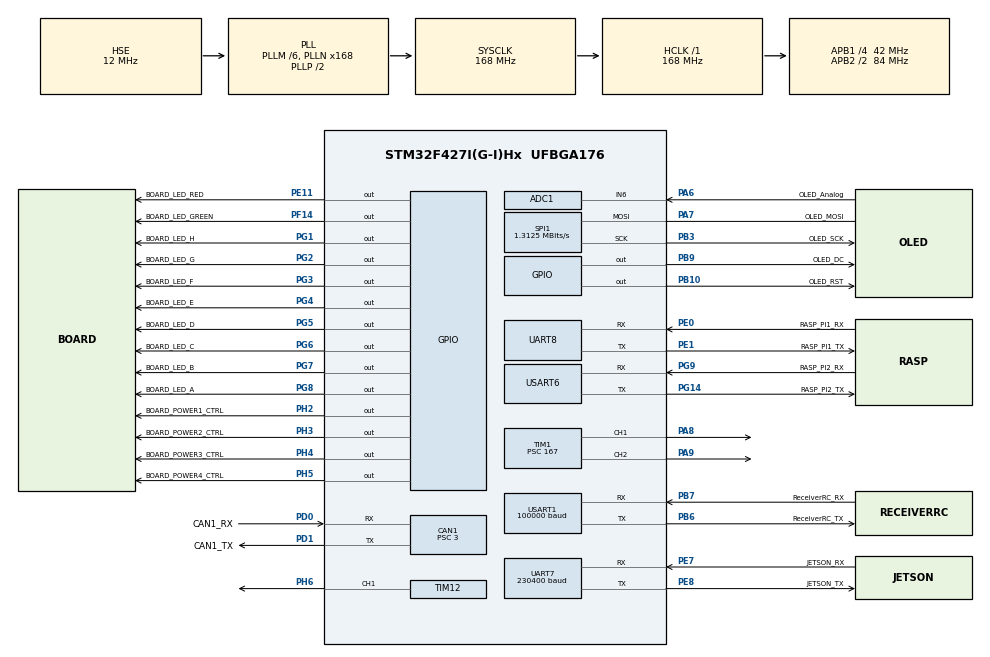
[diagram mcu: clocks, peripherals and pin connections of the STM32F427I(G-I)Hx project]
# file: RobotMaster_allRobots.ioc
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ADC1.Channel-0\#ChannelRegularConversion=ADC_CHANNEL_6
ADC1.NbrOfConversionFlag=1
ADC1.Rank-0\#ChannelRegularConversion=1
ADC1.SamplingTime-0\#ChannelRegularConversion=ADC_SAMPLETIME_3CYCLES
ADC1.master=1
CAN1.ABOM=ENABLE
CAN1.BS1=CAN_BS1_10TQ
CAN1.BS2=CAN_BS2_4TQ
CAN1.CalculateBaudRate=933333
CAN1.CalculateTimeBit=1071.42
CAN1.CalculateTimeQuantum=71.42857142857143
CAN1.Prescaler=3
Dma.Request0=USART1_RX
Dma.Request1=USART1_TX
Dma.Request2=USART6_RX
Dma.Request3=USART6_TX
Dma.Request4=UART8_TX
Dma.Request5=UART7_RX
Dma.Request6=UART7_TX
Dma.Request7=UART8_RX
Dma.UART7_RX.5.Direction=DMA_PERIPH_TO_MEMORY
Dma.UART7_RX.5.FIFOMode=DMA_FIFOMODE_DISABLE
Dma.UART7_RX.5.Instance=DMA1_Stream3
Dma.UART7_RX.5.MemDataAlignment=DMA_MDATAALIGN_BYTE
Dma.UART7_RX.5.MemInc=DMA_MINC_ENABLE
Dma.UART7_RX.5.Mode=DMA_CIRCULAR
Dma.UART7_RX.5.PeriphDataAlignment=DMA_PDATAALIGN_BYTE
Dma.UART7_RX.5.PeriphInc=DMA_PINC_DISABLE
Dma.UART7_RX.5.Priority=DMA_PRIORITY_LOW
Dma.UART7_TX.6.Direction=DMA_MEMORY_TO_PERIPH
Dma.UART7_TX.6.FIFOMode=DMA_FIFOMODE_DISABLE
Dma.UART7_TX.6.Instance=DMA1_Stream1
Dma.UART7_TX.6.MemDataAlignment=DMA_MDATAALIGN_BYTE
Dma.UART7_TX.6.MemInc=DMA_MINC_ENABLE
Dma.UART7_TX.6.Mode=DMA_NORMAL
Dma.UART7_TX.6.PeriphDataAlignment=DMA_PDATAALIGN_BYTE
Dma.UART7_TX.6.PeriphInc=DMA_PINC_DISABLE
Dma.UART7_TX.6.Priority=DMA_PRIORITY_LOW
Dma.UART8_RX.7.Direction=DMA_PERIPH_TO_MEMORY
Dma.UART8_RX.7.FIFOMode=DMA_FIFOMODE_DISABLE
Dma.UART8_RX.7.Instance=DMA1_Stream6
Dma.UART8_RX.7.MemDataAlignment=DMA_MDATAALIGN_BYTE
Dma.UART8_RX.7.MemInc=DMA_MINC_ENABLE
Dma.UART8_RX.7.Mode=DMA_CIRCULAR
Dma.UART8_RX.7.PeriphDataAlignment=DMA_PDATAALIGN_BYTE
Dma.UART8_RX.7.PeriphInc=DMA_PINC_DISABLE
Dma.UART8_RX.7.Priority=DMA_PRIORITY_LOW
Dma.UART8_TX.4.Direction=DMA_MEMORY_TO_PERIPH
Dma.UART8_TX.4.FIFOMode=DMA_FIFOMODE_DISABLE
Dma.UART8_TX.4.Instance=DMA1_Stream0
Dma.UART8_TX.4.MemDataAlignment=DMA_MDATAALIGN_BYTE
Dma.UART8_TX.4.MemInc=DMA_MINC_ENABLE
Dma.UART8_TX.4.Mode=DMA_NORMAL
Dma.UART8_TX.4.PeriphDataAlignment=DMA_PDATAALIGN_BYTE
Dma.UART8_TX.4.PeriphInc=DMA_PINC_DISABLE
Dma.UART8_TX.4.Priority=DMA_PRIORITY_LOW
Dma.USART1_RX.0.Direction=DMA_PERIPH_TO_MEMORY
Dma.USART1_RX.0.FIFOMode=DMA_FIFOMODE_DISABLE
Dma.USART1_RX.0.Instance=DMA2_Stream2
Dma.USART1_RX.0.MemDataAlignment=DMA_MDATAALIGN_BYTE
Dma.USART1_RX.0.MemInc=DMA_MINC_ENABLE
Dma.USART1_RX.0.Mode=DMA_CIRCULAR
Dma.USART1_RX.0.PeriphDataAlignment=DMA_PDATAALIGN_BYTE
Dma.USART1_RX.0.PeriphInc=DMA_PINC_DISABLE
Dma.USART1_RX.0.Priority=DMA_PRIORITY_LOW
Dma.USART1_TX.1.Direction=DMA_MEMORY_TO_PERIPH
Dma.USART1_TX.1.FIFOMode=DMA_FIFOMODE_DISABLE
Dma.USART1_TX.1.Instance=DMA2_Stream7
Dma.USART1_TX.1.MemDataAlignment=DMA_MDATAALIGN_BYTE
Dma.USART1_TX.1.MemInc=DMA_MINC_ENABLE
Dma.USART1_TX.1.Mode=DMA_NORMAL
Dma.USART1_TX.1.PeriphDataAlignment=DMA_PDATAALIGN_BYTE
Dma.USART1_TX.1.PeriphInc=DMA_PINC_DISABLE
Dma.USART1_TX.1.Priority=DMA_PRIORITY_LOW
Dma.USART6_RX.2.Direction=DMA_PERIPH_TO_MEMORY
Dma.USART6_RX.2.FIFOMode=DMA_FIFOMODE_DISABLE
Dma.USART6_RX.2.Instance=DMA2_Stream1
Dma.USART6_RX.2.MemDataAlignment=DMA_MDATAALIGN_BYTE
Dma.USART6_RX.2.MemInc=DMA_MINC_ENABLE
Dma.USART6_RX.2.Mode=DMA_CIRCULAR
Dma.USART6_RX.2.PeriphDataAlignment=DMA_PDATAALIGN_BYTE
Dma.USART6_RX.2.PeriphInc=DMA_PINC_DISABLE
Dma.USART6_RX.2.Priority=DMA_PRIORITY_LOW
Dma.USART6_TX.3.Direction=DMA_MEMORY_TO_PERIPH
Dma.USART6_TX.3.FIFOMode=DMA_FIFOMODE_DISABLE
Dma.USART6_TX.3.Instance=DMA2_Stream6
Dma.USART6_TX.3.MemDataAlignment=DMA_MDATAALIGN_BYTE
Dma.USART6_TX.3.MemInc=DMA_MINC_ENABLE
Dma.USART6_TX.3.Mode=DMA_NORMAL
Dma.USART6_TX.3.PeriphDataAlignment=DMA_PDATAALIGN_BYTE
Dma.USART6_TX.3.PeriphInc=DMA_PINC_DISABLE
Dma.USART6_TX.3.Priority=DMA_PRIORITY_LOW
Mcu.Family=STM32F4
Mcu.Name=STM32F427I(G-I)Hx
Mcu.Package=UFBGA176
NVIC.CAN1_RX0_IRQn=true\:0\:0\:false\:false\:true\:true\:true
NVIC.CAN1_TX_IRQn=true\:0\:0\:false\:false\:true\:true\:true
NVIC.DMA1_Stream0_IRQn=true\:0\:0\:false\:false\:true\:false\:true
NVIC.DMA1_Stream1_IRQn=true\:0\:0\:false\:false\:true\:false\:true
NVIC.DMA1_Stream3_IRQn=true\:0\:0\:false\:false\:true\:false\:true
NVIC.DMA1_Stream6_IRQn=true\:0\:0\:false\:false\:true\:false\:true
NVIC.DMA2_Stream1_IRQn=true\:0\:0\:false\:false\:true\:false\:true
NVIC.DMA2_Stream2_IRQn=true\:0\:0\:false\:false\:true\:false\:true
NVIC.DMA2_Stream6_IRQn=true\:0\:0\:false\:false\:true\:false\:true
NVIC.DMA2_Stream7_IRQn=true\:0\:0\:false\:false\:true\:false\:true
NVIC.PriorityGroup=NVIC_PRIORITYGROUP_4
NVIC.UART7_IRQn=true\:0\:0\:false\:false\:true\:true\:true
NVIC.UART8_IRQn=true\:0\:0\:false\:false\:true\:true\:true
NVIC.USART1_IRQn=true\:0\:0\:false\:false\:true\:true\:true
NVIC.USART6_IRQn=true\:0\:0\:false\:false\:true\:true\:true
PA13.Mode=Serial_Wire
PA13.Signal=SYS_JTMS-SWDIO
PA14.Mode=Serial_Wire
PA14.Signal=SYS_JTCK-SWCLK
PA6.GPIO_Label=OLED_Analog
PA6.Signal=ADCx_IN6
PA7.GPIO_Label=OLED_MOSI
PA7.Mode=Simplex_Bidirectional_Master
PA7.Signal=SPI1_MOSI
PA8.Signal=S_TIM1_CH1
PA9.Signal=S_TIM1_CH2
PB10.GPIO_Label=OLED_RST
PB10.Signal=GPIO_Output
PB3.GPIO_Label=OLED_SCK
PB3.Mode=Simplex_Bidirectional_Master
PB3.Signal=SPI1_SCK
PB6.GPIO_Label=ReceiverRC_TX
PB6.Mode=Asynchronous
PB6.Signal=USART1_TX
PB7.GPIO_Label=ReceiverRC_RX
PB7.Mode=Asynchronous
PB7.Signal=USART1_RX
PB9.GPIO_Label=OLED_DC
PB9.Signal=GPIO_Output
PD0.GPIO_Label=CAN1_RX
PD0.Mode=CAN_Activate
PD0.Signal=CAN1_RX
PD1.GPIO_Label=CAN1_TX
PD1.Mode=CAN_Activate
PD1.Signal=CAN1_TX
PE0.GPIO_Label=RASP_PI1_RX
PE0.Mode=Asynchronous
PE0.Signal=UART8_RX
PE1.GPIO_Label=RASP_PI1_TX
PE1.Mode=Asynchronous
PE1.Signal=UART8_TX
PE11.GPIO_Label=BOARD_LED_RED
PE11.Signal=GPIO_Output
PE7.GPIO_Label=JETSON_RX
PE7.Mode=Asynchronous
PE7.Signal=UART7_RX
PE8.GPIO_Label=JETSON_TX
PE8.Mode=Asynchronous
PE8.Signal=UART7_TX
PF14.GPIO_Label=BOARD_LED_GREEN
PF14.Signal=GPIO_Output
PG1.GPIO_Label=BOARD_LED_H
PG1.Signal=GPIO_Output
PG14.GPIO_Label=RASP_PI2_TX
PG14.GPIO_PuPd=GPIO_PULLUP
PG14.Mode=Asynchronous
PG14.Signal=USART6_TX
PG2.GPIO_Label=BOARD_LED_G
PG2.Signal=GPIO_Output
PG3.GPIO_Label=BOARD_LED_F
PG3.Signal=GPIO_Output
PG4.GPIO_Label=BOARD_LED_E
PG4.Signal=GPIO_Output
PG5.GPIO_Label=BOARD_LED_D
PG5.Signal=GPIO_Output
PG6.GPIO_Label=BOARD_LED_C
PG6.Signal=GPIO_Output
PG7.GPIO_Label=BOARD_LED_B
PG7.Signal=GPIO_Output
PG8.GPIO_Label=BOARD_LED_A
PG8.Signal=GPIO_Output
PG9.GPIO_Label=RASP_PI2_RX
PG9.GPIO_PuPd=GPIO_PULLUP
PG9.Mode=Asynchronous
PG9.Signal=USART6_RX
PH0/OSC_IN.Mode=HSE-External-Oscillator
PH0/OSC_IN.Signal=RCC_OSC_IN
PH1/OSC_OUT.Mode=HSE-External-Oscillator
PH1/OSC_OUT.Signal=RCC_OSC_OUT
PH2.GPIO_Label=BOARD_POWER1_CTRL
PH2.Signal=GPIO_Output
PH3.GPIO_Label=BOARD_POWER2_CTRL
PH3.Signal=GPIO_Output
PH4.GPIO_Label=BOARD_POWER3_CTRL
PH4.Signal=GPIO_Output
PH5.GPIO_Label=BOARD_POWER4_CTRL
PH5.Signal=GPIO_Output
PH6.Signal=S_TIM12_CH1
ProjectManager.HeapSize=0x200
ProjectManager.StackSize=0x400
ProjectManager.TargetToolchain=MDK-ARM V5.27
RCC.48MHZClocksFreq_Value=84000000
RCC.AHBFreq_Value=168000000
RCC.APB1CLKDivider=RCC_HCLK_DIV4
RCC.APB1Freq_Value=42000000
RCC.APB1TimFreq_Value=84000000
RCC.APB2CLKDivider=RCC_HCLK_DIV2
RCC.APB2Freq_Value=84000000
RCC.APB2TimFreq_Value=168000000
RCC.CortexFreq_Value=168000000
RCC.HCLKFreq_Value=168000000
RCC.HSE_VALUE=12000000
RCC.HSI_VALUE=16000000
RCC.LSE_VALUE=32768
RCC.PLLM=6
RCC.PLLN=168
RCC.PLLSourceVirtual=RCC_PLLSOURCE_HSE
RCC.SYSCLKFreq_VALUE=168000000
RCC.SYSCLKSource=RCC_SYSCLKSOURCE_PLLCLK
RCC.VCOOutputFreq_Value=336000000
SH.ADCx_IN6.0=ADC1_IN6,IN6
SH.S_TIM12_CH1.0=TIM12_CH1,PWM Generation1 CH1
SH.S_TIM1_CH1.0=TIM1_CH1,PWM Generation1 CH1
SH.S_TIM1_CH2.0=TIM1_CH2,PWM Generation2 CH2
SPI1.BaudRatePrescaler=SPI_BAUDRATEPRESCALER_64
SPI1.CalculateBaudRate=1.3125 MBits/s
SPI1.Direction=SPI_DIRECTION_1LINE
SPI1.Mode=SPI_MODE_MASTER
SPI1.VirtualType=VM_MASTER
TIM1.Channel-PWM\ Generation1\ CH1=TIM_CHANNEL_1
TIM1.Channel-PWM\ Generation2\ CH2=TIM_CHANNEL_2
TIM1.Period=9999
TIM1.Prescaler=167
TIM1.Pulse-PWM\ Generation1\ CH1=1000
TIM1.Pulse-PWM\ Generation2\ CH2=1000
TIM12.Channel-PWM\ Generation1\ CH1=TIM_CHANNEL_1
TIM12.Prescaler=15555
TIM12.Pulse-PWM\ Generation1\ CH1=1000
UART7.BaudRate=230400
UART7.VirtualMode=Asynchronous
UART8.VirtualMode=Asynchronous
USART1.BaudRate=100000
USART1.Mode=MODE_TX_RX
USART1.Parity=PARITY_EVEN
USART1.VirtualMode=VM_ASYNC
USART6.VirtualMode=VM_ASYNC
board=custom

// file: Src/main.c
/* USER CODE BEGIN Header */
/**
  ******************************************************************************
  * @file           : main.c
  * @brief          : Main program body
  ******************************************************************************
  * @attention
  *
  * <h2><center>&copy; Copyright (c) 2020 STMicroelectronics.
  * All rights reserved.</center></h2>
  *
  * This software component is licensed by ST under BSD 3-Clause license,
  * the "License"; You may not use this file except in compliance with the
  * License. You may obtain a copy of the License at:
  *                        opensource.org/licenses/BSD-3-Clause
  *
  ******************************************************************************
  */
/* USER CODE END Header */
#include "main.h"
#include "adc.h"
#include "can.h"
#include "dma.h"
#include "spi.h"
#include "tim.h"
#include "usart.h"
#include "gpio.h"

void SystemClock_Config(void);

int main(void)
{

  /* MCU Configuration--------------------------------------------------------*/

  /* Reset of all peripherals, Initializes the Flash interface and the Systick. */
  HAL_Init();

  /* Configure the system clock */
  SystemClock_Config();

  /* Initialize all configured peripherals */
  MX_GPIO_Init();
  MX_DMA_Init();
  MX_ADC1_Init();
  MX_SPI1_Init();
  MX_USART1_UART_Init();
  MX_USART6_UART_Init();
  MX_CAN1_Init();
  MX_UART8_Init();
  MX_TIM1_Init();
  MX_UART7_Init();
  MX_TIM12_Init();
  /* USER CODE BEGIN 2 */
	PWM_init();
	//PWM_ScaleAll(&htim1, true); // Etalonnage du PWM entre 0 et 1 (a faire uniquement lors de l'installation des moteurs la 1ere fois) info: motors.c
	uint16_t power_pins_24v = BOARD_POWER1_CTRL_Pin|BOARD_POWER2_CTRL_Pin|BOARD_POWER3_CTRL_Pin|BOARD_POWER4_CTRL_Pin;
  HAL_GPIO_WritePin(GPIOH, power_pins_24v, GPIO_PIN_SET); // Switch on 24v power
	BOARD_LED_ALL_OFF();
	oled_init();
	uart1_init();
	uart6_init();
	uart7_init();
	can1_init();
	robot_init(7); // Initializes robot as STD. The aim is to have initialization handled by referee system
	extern motor_t motors[MAX_MOTORS];
	extern pilot_t pilot;
	extern jetson_t jetson;
	extern uint32_t signOfLife_Receiver_RadioController_tick;
	pilot_init(PILOT_STANDARD);
  /* USER CODE END 2 */

  /* Infinite loop */
  /* USER CODE BEGIN WHILE */

	bool buzz_on = false;

	HAL_TIM_Base_Start(&htim12);
  HAL_TIM_PWM_Start(&htim12, TIM_CHANNEL_1);

	while(signOfLife_Receiver_RadioController_tick == 0){
		error_boardA(2);
		HAL_Delay(200);
	}

	BOARD_LED_ALL_OFF();
	HAL_Delay(200);

	while(signOfLife_Receiver_RadioController_tick != 0){
		if(is_controller_neutral()){
			buzzer_stop();
			buzz_on = false;
			break;     // Get out of infinite loop when controller is in neutral position
		} else if (!buzz_on) {
			buzzer_start();    // Otherwise, buzz until controller OK
			error_boardA(3);
			buzz_on = true;
		} else if (buzz_on) {
			buzzer_stop();
			error_boardA(3);
			buzz_on = false;
		}
		HAL_Delay(500);
	}

	BOARD_LED_ALL_OFF();
	HAL_Delay(200);

  while (1)
  {
		signOfLife(); // LEDs BLINK
		//oled_debug(); // Display debug menu on OLED
		//uart_debug(); // Display debug menu on UART
		process_general_inputs();		// Input processing for all motors except firing system
		canon_process_inputs();		// Input processing for firing system
		pid_compute_command(); 	  // Calculates motor commands
		can_send_command(); 			// Sends command to motors
	}
    /* USER CODE END WHILE */

}

void SystemClock_Config(void)
{
  RCC_OscInitTypeDef RCC_OscInitStruct = {0};
  RCC_ClkInitTypeDef RCC_ClkInitStruct = {0};

  /** Configure the main internal regulator output voltage
  */
  __HAL_RCC_PWR_CLK_ENABLE();
  __HAL_PWR_VOLTAGESCALING_CONFIG(PWR_REGULATOR_VOLTAGE_SCALE1);
  /** Initializes the RCC Oscillators according to the specified parameters
  * in the RCC_OscInitTypeDef structure.
  */
  RCC_OscInitStruct.OscillatorType = RCC_OSCILLATORTYPE_HSE;
  RCC_OscInitStruct.HSEState = RCC_HSE_ON;
  RCC_OscInitStruct.PLL.PLLState = RCC_PLL_ON;
  RCC_OscInitStruct.PLL.PLLSource = RCC_PLLSOURCE_HSE;
  RCC_OscInitStruct.PLL.PLLM = 6;
  RCC_OscInitStruct.PLL.PLLN = 168;
  RCC_OscInitStruct.PLL.PLLP = RCC_PLLP_DIV2;
  RCC_OscInitStruct.PLL.PLLQ = 4;
  if (HAL_RCC_OscConfig(&RCC_OscInitStruct) != HAL_OK)
  {
    Error_Handler();
  }
  /** Initializes the CPU, AHB and APB buses clocks
  */
  RCC_ClkInitStruct.ClockType = RCC_CLOCKTYPE_HCLK|RCC_CLOCKTYPE_SYSCLK
                              |RCC_CLOCKTYPE_PCLK1|RCC_CLOCKTYPE_PCLK2;
  RCC_ClkInitStruct.SYSCLKSource = RCC_SYSCLKSOURCE_PLLCLK;
  RCC_ClkInitStruct.AHBCLKDivider = RCC_SYSCLK_DIV1;
  RCC_ClkInitStruct.APB1CLKDivider = RCC_HCLK_DIV4;
  RCC_ClkInitStruct.APB2CLKDivider = RCC_HCLK_DIV2;

  if (HAL_RCC_ClockConfig(&RCC_ClkInitStruct, FLASH_LATENCY_5) != HAL_OK)
  {
    Error_Handler();
  }
}

void Error_Handler(void)
{
}

/************************ (C) COPYRIGHT STMicroelectronics *****END OF FILE****/
